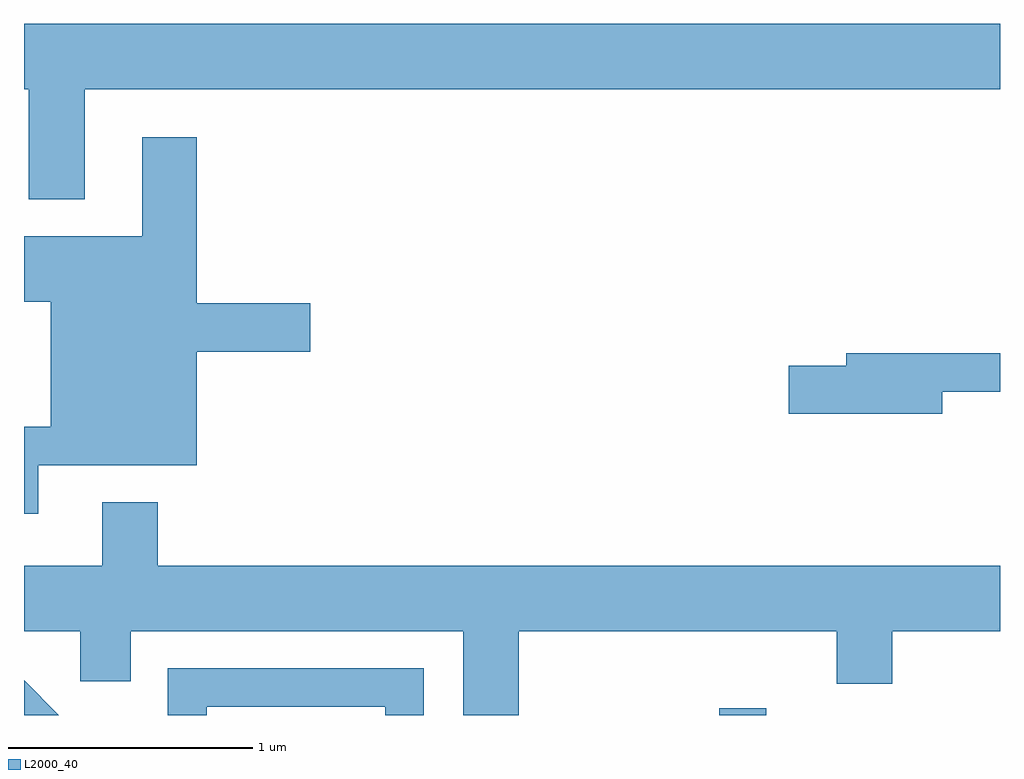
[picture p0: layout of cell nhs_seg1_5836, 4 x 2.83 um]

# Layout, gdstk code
import gdstk
lib = gdstk.Library(unit=1e-6, precision=1e-09)
def R(c, l, rs):  # rectangles x0, y0, x1, y1
    for r in rs: c.add(gdstk.rectangle(r[:2], r[2:], *l))
def P(c, l, *ps):  # polygons
    for p in ps: c.add(gdstk.Polygon(p, *l))
L2000_40 = (2000, 40)

nhs_seg1_5836 = lib.new_cell('nhs_seg1_5836')
R(nhs_seg1_5836, L2000_40, [(364.461,863.712,364.654,863.739)])
P(nhs_seg1_5836, L2000_40, [(361.859,866.276),(365.611,866.276),(365.611,866.544),(361.611,866.544),(361.611,866.276),(361.631,866.276),(361.631,865.826),(361.859,865.826)],
  [(361.669,864.736),(362.319,864.736),(362.319,865.201),(362.784,865.201),(362.784,865.399),(362.319,865.399),(362.319,866.079),(362.096,866.079),(362.096,865.674),(361.611,865.674),(361.611,865.406),(361.721,865.406),(361.721,864.894),(361.611,864.894),(361.611,864.536),(361.669,864.536)],
  [(365.374,865.036),(365.611,865.036),(365.611,865.194),(364.981,865.194),(364.981,865.144),(364.746,865.144),(364.746,864.946),(365.374,864.946)],
  [(363.639,864.056),(364.941,864.056),(364.941,863.841),(365.169,863.841),(365.169,864.056),(365.611,864.056),(365.611,864.324),(362.159,864.324),(362.159,864.584),(361.931,864.584),(361.931,864.324),(361.611,864.324),(361.611,864.056),(361.841,864.056),(361.841,863.851),(362.049,863.851),(362.049,864.056),(363.411,864.056),(363.411,863.712),(363.639,863.712)],
  [(362.359,863.746),(363.091,863.746),(363.091,863.712),(363.249,863.712),(363.249,863.904),(362.201,863.904),(362.201,863.712),(362.359,863.712)],
  [(361.611,863.855),(361.611,863.712),(361.754,863.712)])

lib.write_gds('nhs_seg1_5836.gds')
